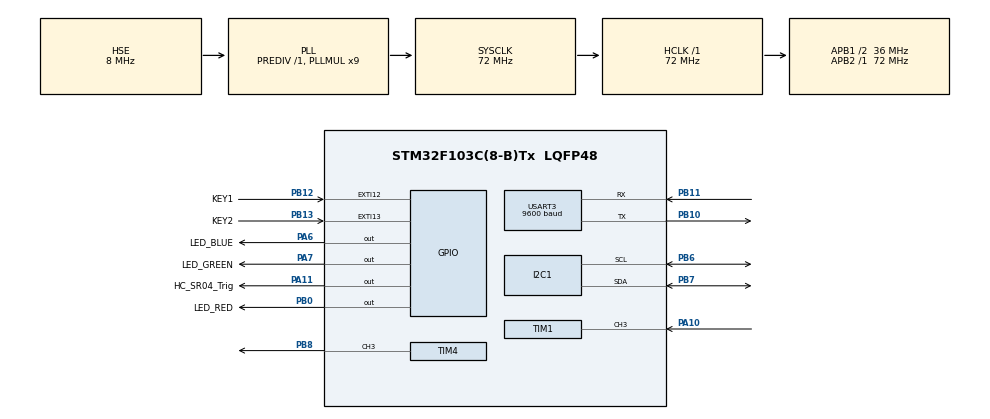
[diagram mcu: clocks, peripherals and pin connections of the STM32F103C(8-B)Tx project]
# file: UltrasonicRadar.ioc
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Dma.Request0=USART3_RX
Dma.Request1=USART3_TX
Dma.USART3_RX.0.Direction=DMA_PERIPH_TO_MEMORY
Dma.USART3_RX.0.Instance=DMA1_Channel3
Dma.USART3_RX.0.MemDataAlignment=DMA_MDATAALIGN_BYTE
Dma.USART3_RX.0.MemInc=DMA_MINC_ENABLE
Dma.USART3_RX.0.Mode=DMA_NORMAL
Dma.USART3_RX.0.PeriphDataAlignment=DMA_PDATAALIGN_BYTE
Dma.USART3_RX.0.PeriphInc=DMA_PINC_DISABLE
Dma.USART3_RX.0.Priority=DMA_PRIORITY_LOW
Dma.USART3_TX.1.Direction=DMA_MEMORY_TO_PERIPH
Dma.USART3_TX.1.Instance=DMA1_Channel2
Dma.USART3_TX.1.MemDataAlignment=DMA_MDATAALIGN_BYTE
Dma.USART3_TX.1.MemInc=DMA_MINC_ENABLE
Dma.USART3_TX.1.Mode=DMA_NORMAL
Dma.USART3_TX.1.PeriphDataAlignment=DMA_PDATAALIGN_BYTE
Dma.USART3_TX.1.PeriphInc=DMA_PINC_DISABLE
Dma.USART3_TX.1.Priority=DMA_PRIORITY_LOW
FREERTOS.BinarySemaphores01=binSignal_awake_BtTask_,Dynamic,NULL,Depleted;binSignal_awake_OledUpdate_,Dynamic,NULL,Depleted;binSignal_MainCycleDone_,Dynamic,NULL,Depleted;binSignal_CaptureDone_,Dynamic,NULL,Depleted
FREERTOS.Queues01=queue_btSendData_,8,float,0,Dynamic,NULL,NULL;queue_btRxCommand_,16,CommandCode_TypeDef*,0,Dynamic,NULL,NULL
FREERTOS.Tasks01=Task_Main,25,128,StartTask_Main,Default,NULL,Dynamic,NULL,NULL;Task_OledUpdate,9,256,StartTask_OledUpdate,Default,NULL,Dynamic,NULL,NULL;Task_BluetoothIO,40,128,StartTask_BluetoothIO,Default,NULL,Dynamic,NULL,NULL
FREERTOS.configTOTAL_HEAP_SIZE=8192
Mcu.Family=STM32F1
Mcu.Name=STM32F103C(8-B)Tx
Mcu.Package=LQFP48
NVIC.DMA1_Channel2_IRQn=true\:5\:0\:false\:false\:true\:true\:false\:true\:true
NVIC.DMA1_Channel3_IRQn=true\:5\:0\:false\:false\:true\:true\:false\:true\:true
NVIC.EXTI15_10_IRQn=true\:5\:0\:false\:false\:true\:true\:true\:true\:true
NVIC.PriorityGroup=NVIC_PRIORITYGROUP_4
NVIC.TIM1_CC_IRQn=true\:5\:0\:false\:false\:true\:true\:true\:true\:true
NVIC.TIM3_IRQn=true\:5\:0\:false\:false\:true\:true\:true\:true\:true
NVIC.USART3_IRQn=true\:5\:0\:false\:false\:true\:true\:true\:true\:true
PA10.Signal=S_TIM1_CH3
PA11.GPIO_Label=HC_SR04_Trig
PA11.Signal=GPIO_Output
PA13.Mode=Serial_Wire
PA13.Signal=SYS_JTMS-SWDIO
PA14.Mode=Serial_Wire
PA14.Signal=SYS_JTCK-SWCLK
PA6.GPIO_Label=LED_BLUE
PA6.Signal=GPIO_Output
PA7.GPIO_Label=LED_GREEN
PA7.Signal=GPIO_Output
PB0.GPIO_Label=LED_RED
PB0.Signal=GPIO_Output
PB10.Mode=Asynchronous
PB10.Signal=USART3_TX
PB11.Mode=Asynchronous
PB11.Signal=USART3_RX
PB12.GPIO_Label=KEY1
PB12.GPIO_ModeDefaultEXTI=GPIO_MODE_IT_FALLING
PB12.Signal=GPXTI12
PB13.GPIO_Label=KEY2
PB13.GPIO_ModeDefaultEXTI=GPIO_MODE_IT_FALLING
PB13.GPIO_PuPd=GPIO_PULLUP
PB13.Signal=GPXTI13
PB6.Mode=I2C
PB6.Signal=I2C1_SCL
PB7.Mode=I2C
PB7.Signal=I2C1_SDA
PB8.Signal=S_TIM4_CH3
PD0-OSC_IN.Mode=HSE-External-Oscillator
PD0-OSC_IN.Signal=RCC_OSC_IN
PD1-OSC_OUT.Mode=HSE-External-Oscillator
PD1-OSC_OUT.Signal=RCC_OSC_OUT
ProjectManager.HeapSize=0x200
ProjectManager.StackSize=0x400
ProjectManager.TargetToolchain=CMake
RCC.AHBFreq_Value=72000000
RCC.APB1CLKDivider=RCC_HCLK_DIV2
RCC.APB1Freq_Value=36000000
RCC.APB1TimFreq_Value=72000000
RCC.APB2Freq_Value=72000000
RCC.APB2TimFreq_Value=72000000
RCC.HCLKFreq_Value=72000000
RCC.PLLMUL=RCC_PLL_MUL9
RCC.PLLSourceVirtual=RCC_PLLSOURCE_HSE
RCC.SYSCLKFreq_VALUE=72000000
RCC.SYSCLKSource=RCC_SYSCLKSOURCE_PLLCLK
RCC.USBFreq_Value=72000000
SH.S_TIM1_CH3.0=TIM1_CH3,Input_Capture3_from_TI3
SH.S_TIM4_CH3.0=TIM4_CH3,PWM Generation3 CH3
TIM1.Channel-Input_Capture3_from_TI3=TIM_CHANNEL_3
TIM1.Channel-Input_Capture4_from_TI3_63=TIM_CHANNEL_4
TIM1.ICPolarity_CH4=TIM_INPUTCHANNELPOLARITY_FALLING
TIM1.Prescaler=72-1
TIM3.Period=10-1
TIM3.Prescaler=72-1
TIM4.Channel-PWM\ Generation3\ CH3=TIM_CHANNEL_3
TIM4.Period=2000-1
TIM4.Prescaler=720-1
USART3.BaudRate=9600
USART3.VirtualMode=VM_ASYNC
VP_FREERTOS_VS_CMSIS_V2.Mode=CMSIS_V2
VP_TIM1_VS_ClockSourceINT.Mode=Internal
VP_TIM1_VS_indirect_ch3.Mode=Input_Capture4_from_TI3_63
VP_TIM3_VS_ClockSourceINT.Mode=Internal
VP_TIM4_VS_ClockSourceINT.Mode=Internal
board=custom

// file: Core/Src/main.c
/* USER CODE BEGIN Header */
/**
  ******************************************************************************
  * @file           : main.c
  * @brief          : Main program body
  ******************************************************************************
  * @attention
  *
  * Copyright (c) 2026 STMicroelectronics.
  * All rights reserved.
  *
  * This software is licensed under terms that can be found in the LICENSE file
  * in the root directory of this software component.
  * If no LICENSE file comes with this software, it is provided AS-IS.
  *
  ******************************************************************************
  */
/* USER CODE END Header */
#include "main.h"
#include "cmsis_os.h"
#include "dma.h"
#include "i2c.h"
#include "tim.h"
#include "usart.h"
#include "gpio.h"

/* USER CODE BEGIN Includes */
#include "flags.h"
/* USER CODE END Includes */

/* USER CODE BEGIN PV */

// 全局标志位

/* USER CODE END PV */

void SystemClock_Config(void);
void MX_FREERTOS_Init(void);
/* USER CODE BEGIN PFP */

/*根据TIM1捕获计算距离*/
float calc_distance_mm(int up_edge_number, int down_edge_number)
{
  return (
    (float)(down_edge_number - up_edge_number) * (float)SPEED_OF_SOUND_m_s / 2000.0f
  );
}

/*将距离和角度输出在OLED上*/
void print_sensor_data_on_oled(float distance, float angle)
{
  OLED_NewFrame();
  char printMsg_distance[20] = "";
  sprintf(printMsg_distance, "d = %.2f", distance);
  OLED_PrintString(0, 0, printMsg_distance, &font16x16, OLED_COLOR_NORMAL);
  char printMsg_angle[20] = "";
  sprintf(printMsg_angle, "a = %.2f", angle);
  OLED_PrintString(0, 16, printMsg_angle, &font16x16, OLED_COLOR_NORMAL);
  OLED_ShowFrame();
}

// class AutoCompare_TypeDef {}
struct AutoCompare_TypeDef{
        int compare;
        int multiplier;
        int step;
        int compare_min;
        int compare_max;
};

/*计算下一个compare值并返回计算结果*/
int AutoCompare_next(AutoCompare_TypeDef * this)
{
  if (this->compare >= this->compare_max) {
    this->compare = this->compare_max;
    this->multiplier = -1;
  }
  else if (this->compare <= this->compare_min) {
    this->compare = this->compare_min;
    this->multiplier = 1;
  }
  this->compare += this->multiplier * this->step;
  return this->compare;
}

/*设置compare步进值（operation_type: set, add, remove）（不允许step为负数）*/
bool AutoCompare_setStep( AutoCompare_TypeDef * this,
                          int operation_type, int value )
{
  int step_old = this->step;

  if (operation_type == 1) {
    this->step = value;
  } else if (operation_type == 2) {
    this->step += value;
  } else if (operation_type == 3) {
    this->step -= value;
  }

  if (this->step < 0) {
    this->step = step_old;
    put_queue_btSendError_awake(0x00);
    return false;
  }
  return true;
}

// 实例化AutoCompare
AutoCompare_TypeDef ac_ = {
  .compare     = PWMSERVO_MIN_COMPARE,
  .multiplier  = 1,
  .step        = 1,
  .compare_min = PWMSERVO_MIN_COMPARE,
  .compare_max = PWMSERVO_MAX_COMPARE
};
AutoCompare_TypeDef * auto_compare = &ac_;

/* USER CODE END PFP */

/* USER CODE BEGIN 0 */

/*GPIO中断回调函数*/
void HAL_GPIO_EXTI_Callback(uint16_t GPIO_Pin)
{
  // 启用或禁用oled
  if (GPIO_Pin == KEY2_Pin) {
    LED_toggle(led_blue);
    enable_oled = !enable_oled;
  awake_oled_update(enable_oled);
  }

  // 启动或暂停
  else if (GPIO_Pin == KEY1_Pin) {
    LED_toggle(led_green);
    LED_toggle(led_red);
    pause = !pause;
  }
}

/*计时器自动重装载回调函数*/
void HAL_TIM_PeriodElapsedCallback(TIM_HandleTypeDef *htim)
{
  // TIM3的us级计时，为缓解中断压力，此处直接采用句柄而不走面向对象
  if (htim == &htim3) {
    // 倒计时
    OrdinaryTimer_CountDown(main_cycle_timer);

    // 倒计时结束则唤醒Task_Main
    if (OrdinaryTimer_is_CountCplt(main_cycle_timer)) {
      OrdinaryTimer_Reset(main_cycle_timer);
      main_cycle_done_awake();
    }
  }
}

/*计时器捕获处理函数*/
void HAL_TIM_IC_CaptureCallback(TIM_HandleTypeDef *htim)
{
  // TIM1捕获上升和下降沿
  if ( htim->Instance == TimerEp_GetInstance((Timer*)capture_timer)
       && htim->Channel == CaptureTimer_GetActiveChannel(capture_timer) )
  {
    // 记录捕获信息
    CaptureTimer_SaveCounter_both(capture_timer);

    // 唤醒Task_Main
    capture_done_awake();
  }
}

/*串口Tx回调函数*/
void HAL_UART_TxCpltCallback(UART_HandleTypeDef *huart)
{
  if (huart == Usart_Get_pHuart(bluetooth)) {
      Usart_mark_TxCplt(bluetooth, true);
      awake_bt_task();
  }
}

/*串口Rx回调函数*/
void HAL_UARTEx_RxEventCallback(UART_HandleTypeDef *huart, uint16_t Size)
{
  if (huart == Usart_Get_pHuart(bluetooth)) {
    Usart_mark_RxCplt(bluetooth, true);
    Usart_mark_RxSize(bluetooth, Size);
    awake_bt_task();
  }
}

/* USER CODE END 0 */

int main(void)
{

  /* MCU Configuration--------------------------------------------------------*/

  /* Reset of all peripherals, Initializes the Flash interface and the Systick. */
  HAL_Init();

  /* Configure the system clock */
  SystemClock_Config();

  /* Initialize all configured peripherals */
  MX_GPIO_Init();
  MX_DMA_Init();
  MX_I2C1_Init();
  MX_TIM4_Init();
  MX_TIM1_Init();
  MX_TIM3_Init();
  MX_USART3_UART_Init();
  /* USER CODE BEGIN 2 */

  // 实例化LED小灯
  led_red = LED_Instantiate(LED_RED_GPIO_Port, LED_RED_Pin);
  led_green = LED_Instantiate(LED_GREEN_GPIO_Port, LED_GREEN_Pin);
  led_blue = LED_Instantiate(LED_BLUE_GPIO_Port, LED_BLUE_Pin);

  // 实例化定时器
  capture_timer = CaptureTimer_Instantiate(
    &htim1,
    72,
    HC_SR04_Trig_GPIO_Port,
    HC_SR04_Trig_Pin,
    TIM_CHANNEL_3,
    TIM_CHANNEL_4,
    HAL_TIM_ACTIVE_CHANNEL_4
  );

  main_cycle_timer = OrdinaryTimer_Instantiate(
    &htim3,
    72
  );

  servo_pwm_timer = PwmTimer_Instantiate(
    &htim4,
    72,
    TIM_CHANNEL_3,
    1
  );

  // 实例化蓝牙串口
  extern DMA_HandleTypeDef hdma_usart3_rx;
  extern DMA_HandleTypeDef hdma_usart3_tx;
  bluetooth = Usart_Instantiate(
    &huart3,
    &hdma_usart3_rx,
    &hdma_usart3_tx
  );

  // 启动外设
  HAL_Delay(20);

  CaptureTimer_Init(capture_timer);
  OrdinaryTimer_Init_IT(main_cycle_timer);
  PwmTimer_Init(servo_pwm_timer);

  OLED_Init();
  OLED_NewFrame();
  OLED_PrintString(0, 0, "Start", &font16x16, OLED_COLOR_NORMAL);
  OLED_ShowFrame();

  /* USER CODE END 2 */

  /* Init scheduler */
  osKernelInitialize();  /* Call init function for freertos objects (in cmsis_os2.c) */
  MX_FREERTOS_Init();

  /* Start scheduler */
  osKernelStart();

  /* We should never get here as control is now taken by the scheduler */

  /* Infinite loop */
  while (1)
  {

  }
}

void SystemClock_Config(void)
{
  RCC_OscInitTypeDef RCC_OscInitStruct = {0};
  RCC_ClkInitTypeDef RCC_ClkInitStruct = {0};

  /** Initializes the RCC Oscillators according to the specified parameters
  * in the RCC_OscInitTypeDef structure.
  */
  RCC_OscInitStruct.OscillatorType = RCC_OSCILLATORTYPE_HSE;
  RCC_OscInitStruct.HSEState = RCC_HSE_ON;
  RCC_OscInitStruct.HSEPredivValue = RCC_HSE_PREDIV_DIV1;
  RCC_OscInitStruct.HSIState = RCC_HSI_ON;
  RCC_OscInitStruct.PLL.PLLState = RCC_PLL_ON;
  RCC_OscInitStruct.PLL.PLLSource = RCC_PLLSOURCE_HSE;
  RCC_OscInitStruct.PLL.PLLMUL = RCC_PLL_MUL9;
  if (HAL_RCC_OscConfig(&RCC_OscInitStruct) != HAL_OK)
  {
    Error_Handler();
  }

  /** Initializes the CPU, AHB and APB buses clocks
  */
  RCC_ClkInitStruct.ClockType = RCC_CLOCKTYPE_HCLK|RCC_CLOCKTYPE_SYSCLK
                              |RCC_CLOCKTYPE_PCLK1|RCC_CLOCKTYPE_PCLK2;
  RCC_ClkInitStruct.SYSCLKSource = RCC_SYSCLKSOURCE_PLLCLK;
  RCC_ClkInitStruct.AHBCLKDivider = RCC_SYSCLK_DIV1;
  RCC_ClkInitStruct.APB1CLKDivider = RCC_HCLK_DIV2;
  RCC_ClkInitStruct.APB2CLKDivider = RCC_HCLK_DIV1;

  if (HAL_RCC_ClockConfig(&RCC_ClkInitStruct, FLASH_LATENCY_2) != HAL_OK)
  {
    Error_Handler();
  }
}

void Error_Handler(void)
{
  __disable_irq();
  while (1)
  {
  }
}

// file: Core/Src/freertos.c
/* USER CODE BEGIN Header */
/**
  ******************************************************************************
  * File Name          : freertos.c
  * Description        : Code for freertos applications
  ******************************************************************************
  * @attention
  *
  * Copyright (c) 2026 STMicroelectronics.
  * All rights reserved.
  *
  * This software is licensed under terms that can be found in the LICENSE file
  * in the root directory of this software component.
  * If no LICENSE file comes with this software, it is provided AS-IS.
  *
  ******************************************************************************
  */
/* USER CODE END Header */

#include "FreeRTOS.h"
#include "bluetooth.h"
#include "task.h"
#include "main.h"
#include "cmsis_os.h"

/* USER CODE BEGIN Includes */
#include "state_t.h"
#include "main.h"
#include "flags.h"
#include "usart_ep.h"
/* USER CODE END Includes */

/* USER CODE BEGIN Variables */

// 传感器数据
float distance = 0;          // 距离（计算值）
float angle = 0;             // 角度（计算值）

/* USER CODE END Variables */
/* Definitions for Task_Main */
osThreadId_t Task_MainHandle;
const osThreadAttr_t Task_Main_attributes = {
  .name = "Task_Main",
  .stack_size = 128 * 4,
  .priority = (osPriority_t) osPriorityNormal1,
};
/* Definitions for Task_OledUpdate */
osThreadId_t Task_OledUpdateHandle;
const osThreadAttr_t Task_OledUpdate_attributes = {
  .name = "Task_OledUpdate",
  .stack_size = 256 * 4,
  .priority = (osPriority_t) osPriorityLow1,
};
/* Definitions for Task_BluetoothIO */
osThreadId_t Task_BluetoothIOHandle;
const osThreadAttr_t Task_BluetoothIO_attributes = {
  .name = "Task_BluetoothIO",
  .stack_size = 128 * 4,
  .priority = (osPriority_t) osPriorityHigh,
};
/* Definitions for queue_btSendData_ */
osMessageQueueId_t queue_btSendData_Handle;
const osMessageQueueAttr_t queue_btSendData__attributes = {
  .name = "queue_btSendData_"
};
/* Definitions for queue_btRxCommand_ */
osMessageQueueId_t queue_btRxCommand_Handle;
const osMessageQueueAttr_t queue_btRxCommand__attributes = {
  .name = "queue_btRxCommand_"
};
/* Definitions for binSignal_awake_BtTask_ */
osSemaphoreId_t binSignal_awake_BtTask_Handle;
const osSemaphoreAttr_t binSignal_awake_BtTask__attributes = {
  .name = "binSignal_awake_BtTask_"
};
/* Definitions for binSignal_awake_OledUpdate_ */
osSemaphoreId_t binSignal_awake_OledUpdate_Handle;
const osSemaphoreAttr_t binSignal_awake_OledUpdate__attributes = {
  .name = "binSignal_awake_OledUpdate_"
};
/* Definitions for binSignal_MainCycleDone_ */
osSemaphoreId_t binSignal_MainCycleDone_Handle;
const osSemaphoreAttr_t binSignal_MainCycleDone__attributes = {
  .name = "binSignal_MainCycleDone_"
};
/* Definitions for binSignal_CaptureDone_ */
osSemaphoreId_t binSignal_CaptureDone_Handle;
const osSemaphoreAttr_t binSignal_CaptureDone__attributes = {
  .name = "binSignal_CaptureDone_"
};

/* USER CODE BEGIN FunctionPrototypes */

void awake_bt_task()
{
  osSemaphoreRelease(binSignal_awake_BtTask_Handle);
}

void put_queue_btSendData_awake(float data1, float data2)
{
  osMessageQueuePut(queue_btSendData_Handle, &data1, 0, 0);
  osMessageQueuePut(queue_btSendData_Handle, &data2, 0, 0);
  awake_bt_task();
}

void put_queue_btSendError_awake(uint16_t error_code)
{
    put_queue_btSendData_awake(-1.0f, error_code);
}

void awake_oled_update(bool oled_is_show)
{
  oled_refresh_req = oled_is_show;
  oled_clear_req = !oled_is_show;
  osSemaphoreRelease(binSignal_awake_OledUpdate_Handle);
}

void main_cycle_done_awake()
{
  osSemaphoreRelease(binSignal_MainCycleDone_Handle);
}

void capture_done_awake()
{
  osSemaphoreRelease(binSignal_CaptureDone_Handle);
}

/* USER CODE END FunctionPrototypes */

void StartTask_Main(void *argument);
void StartTask_OledUpdate(void *argument);
void StartTask_BluetoothIO(void *argument);

void MX_FREERTOS_Init(void); /* (MISRA C 2004 rule 8.1) */

void MX_FREERTOS_Init(void) {

  /* Create the semaphores(s) */
  /* creation of binSignal_awake_BtTask_ */
  binSignal_awake_BtTask_Handle = osSemaphoreNew(1, 0, &binSignal_awake_BtTask__attributes);

  /* creation of binSignal_awake_OledUpdate_ */
  binSignal_awake_OledUpdate_Handle = osSemaphoreNew(1, 0, &binSignal_awake_OledUpdate__attributes);

  /* creation of binSignal_MainCycleDone_ */
  binSignal_MainCycleDone_Handle = osSemaphoreNew(1, 0, &binSignal_MainCycleDone__attributes);

  /* creation of binSignal_CaptureDone_ */
  binSignal_CaptureDone_Handle = osSemaphoreNew(1, 0, &binSignal_CaptureDone__attributes);

  /* Create the queue(s) */
  /* creation of queue_btSendData_ */
  queue_btSendData_Handle = osMessageQueueNew (8, sizeof(float), &queue_btSendData__attributes);

  /* creation of queue_btRxCommand_ */
  queue_btRxCommand_Handle = osMessageQueueNew (16, sizeof(CommandCode_TypeDef), &queue_btRxCommand__attributes);

  /* Create the thread(s) */
  /* creation of Task_Main */
  Task_MainHandle = osThreadNew(StartTask_Main, NULL, &Task_Main_attributes);

  /* creation of Task_OledUpdate */
  Task_OledUpdateHandle = osThreadNew(StartTask_OledUpdate, NULL, &Task_OledUpdate_attributes);

  /* creation of Task_BluetoothIO */
  Task_BluetoothIOHandle = osThreadNew(StartTask_BluetoothIO, NULL, &Task_BluetoothIO_attributes);

}

void StartTask_Main(void *argument)
{
  /* USER CODE BEGIN StartTask_Main */
  State_TypeDef state = INIT;
  /* Infinite loop */
  for(;;)
  {
    state = StateMachine_Next(state);
  }

  /* USER CODE END StartTask_Main */
}

void StartTask_OledUpdate(void *argument)
{
  /* USER CODE BEGIN StartTask_OledUpdate */
  /* Infinite loop */
  for(;;)
  {
    // 等待信号量释放
    osSemaphoreAcquire(binSignal_awake_OledUpdate_Handle, osWaitForever);

    // 有关按按钮（KEY2）的处理放在main.c的HAL_GPIO_EXTI_Callback()里

    // 清空或显示OLED
    if (oled_clear_req) {
      oled_clear_req = false;
      OLED_NewFrame();
      OLED_ShowFrame();
    }
    else if (oled_refresh_req && enable_oled) {
      oled_refresh_req = false;
      print_sensor_data_on_oled(distance, angle);
    }

    osDelay(1);
  }
  /* USER CODE END StartTask_OledUpdate */
}

void StartTask_BluetoothIO(void *argument)
{
  /* USER CODE BEGIN StartTask_BluetoothIO */
  CommandCode_TypeDef rx_cmd;
  /* Infinite loop */
  for(;;)
  {
    // 等待信号量释放
    osSemaphoreAcquire(binSignal_awake_BtTask_Handle, osWaitForever);

    // event: 蓝牙接收完毕
    if (Usart_is_RxCplt(bluetooth))
    {
      // 接收指令
      bool rx_success = Cmd_Parse(
        Usart_Get_pReceiveData(bluetooth),
        Usart_Get_RxSize(bluetooth),
        &rx_cmd
      );

      if (rx_success) {
        osMessageQueuePut(queue_btRxCommand_Handle, &rx_cmd, 0, 0);
      } else {
        send_error(bluetooth, CMD_ERR_UNKNOWN_CMD);
      }

      // 等待下一个命令
      Usart_ReceiveToIdle_DMA_noHT(bluetooth);
    }

    // event: 如果队列中有需要发送的东西，就发送它们
    if (osMessageQueueGetCount(queue_btSendData_Handle) >= 2)
    {
      while(!Usart_is_TxCplt(bluetooth));
      // 获取将要发送的数据
      static float sendData_1 = 0;
      static float sendData_2 = 0;
      osMessageQueueGet(queue_btSendData_Handle, &sendData_1, 0, 0);
      osMessageQueueGet(queue_btSendData_Handle, &sendData_2, 0, 0);

      // 判断发送的数据是传感器数据还是错误信息，然后发送
      if (sendData_1 == -1.0f) {
        if (sendData_2 < 0) sendData_2 = 65535;
        send_error(bluetooth, (uint16_t)sendData_2);
      } else {
        send_sensor_data(bluetooth, sendData_1, sendData_2);
      }

      // 如果队列里还有数据，就再让蓝牙发送一次（不阻塞其他任务）
      if (osMessageQueueGetCount(queue_btSendData_Handle) >= 2 ) {
        osSemaphoreRelease(binSignal_awake_BtTask_Handle);
      }

      // 清理垃圾数据
      else if (osMessageQueueGetCount(queue_btSendData_Handle) == 1) {
        osMessageQueueGet(queue_btSendData_Handle, &sendData_1, 0, 0);
      }
    }

    osDelay(1);
  }
  /* USER CODE END StartTask_BluetoothIO */
}

/* USER CODE BEGIN Application */

State_TypeDef State_Init(void)
{
  // 阻止HC-SR04在INIT状态下工作
  CaptureTimer_Reset(capture_timer);
  CaptureTimer_TriggerDown(capture_timer);

  // 启动时暂停
  LED_off(led_green);
  LED_on(led_red);
  pause = true;

  // 启动时不启用OLED输出
  enable_oled = 0;
  LED_off(led_blue);

  // 启动时将舵机置于0度
  PwmTimer_SetCompare(servo_pwm_timer, PWMSERVO_MIN_COMPARE);

  // 启用蓝牙发送和接收
  if (Usart_is_RxCplt(bluetooth)) {
    Usart_ReceiveToIdle_DMA_noHT(bluetooth);
  } else {
    OLED_NewFrame();
    OLED_PrintString(0, 0, "Restart", &font16x16, OLED_COLOR_NORMAL);
    OLED_ShowFrame();
    osDelay(100);
    return INIT;
  }

  osDelay(100);
  return PAUSE_APPEND;
}

State_TypeDef State_Pause_append(void)
{
  // 从队列中获取命令，然后执行它们
  CommandCode_TypeDef cmd;
  while (osMessageQueueGet(queue_btRxCommand_Handle, &cmd, 0, 0) == osOK)
  {
    Cmd_Execute(&cmd);
  }
  // 按按钮（KEY1）暂停或解除暂停的事件放在main.c的HAL_GPIO_EXTI_Callback()里
  // 如果不处于暂停，则进行下一步
  if (!pause) return MEASURING;
  else return PAUSE_APPEND;
}

State_TypeDef State_Measuring(void)
{
  // 刚进入此状态，上拉Trig
  CaptureTimer_Reset(capture_timer);
  CaptureTimer_TriggerUp(capture_timer);

  // 倒计时
  OrdinaryTimer_SetCycle_ms(main_cycle_timer, TRIG_DURATION_ms);
  osSemaphoreAcquire(binSignal_MainCycleDone_Handle, osWaitForever);

  // 倒计时结束，将Trig下拉，开始捕获
  CaptureTimer_TriggerDown(capture_timer);
  osSemaphoreAcquire(binSignal_CaptureDone_Handle, osWaitForever);

  // 捕获结束
  return PROCESSING;
}

State_TypeDef State_Processing(void)
{
  // 计算传感器数据
  distance = calc_distance_mm(CaptureTimer_LoadCounter_1(capture_timer),
                              CaptureTimer_LoadCounter_2(capture_timer));
  angle = PwmTimerEx_GetCompare_AsServoAngle(servo_pwm_timer,
                                             PWMSERVO_MIN_COMPARE,
                                             PWMSERVO_MAX_COMPARE,
                                             PWMSERVO_ANGLE_RANGE);
  return ROTATING;
}

State_TypeDef State_Rotating(void)
{
  if (resample_remain) {
    resample_remain --;
  } else {
    resample_remain = resample;
    PwmTimer_SetCompare(servo_pwm_timer,
                        AutoCompare_next(auto_compare));
  }

  return COOLING;
}

State_TypeDef State_Cooling(void)
{
  // 刚进入COOLING，刷新oled，发送传感器数据
  if(enable_oled) awake_oled_update(true);
  put_queue_btSendData_awake(distance, angle);

  // 开始倒计时，等待倒计时结束
  OrdinaryTimer_SetCycle_ms(main_cycle_timer, cooling_time_ms);
  osSemaphoreAcquire(binSignal_MainCycleDone_Handle, osWaitForever);

  // 倒计时完毕
  return PAUSE_APPEND;
}

/* USER CODE END Application */
